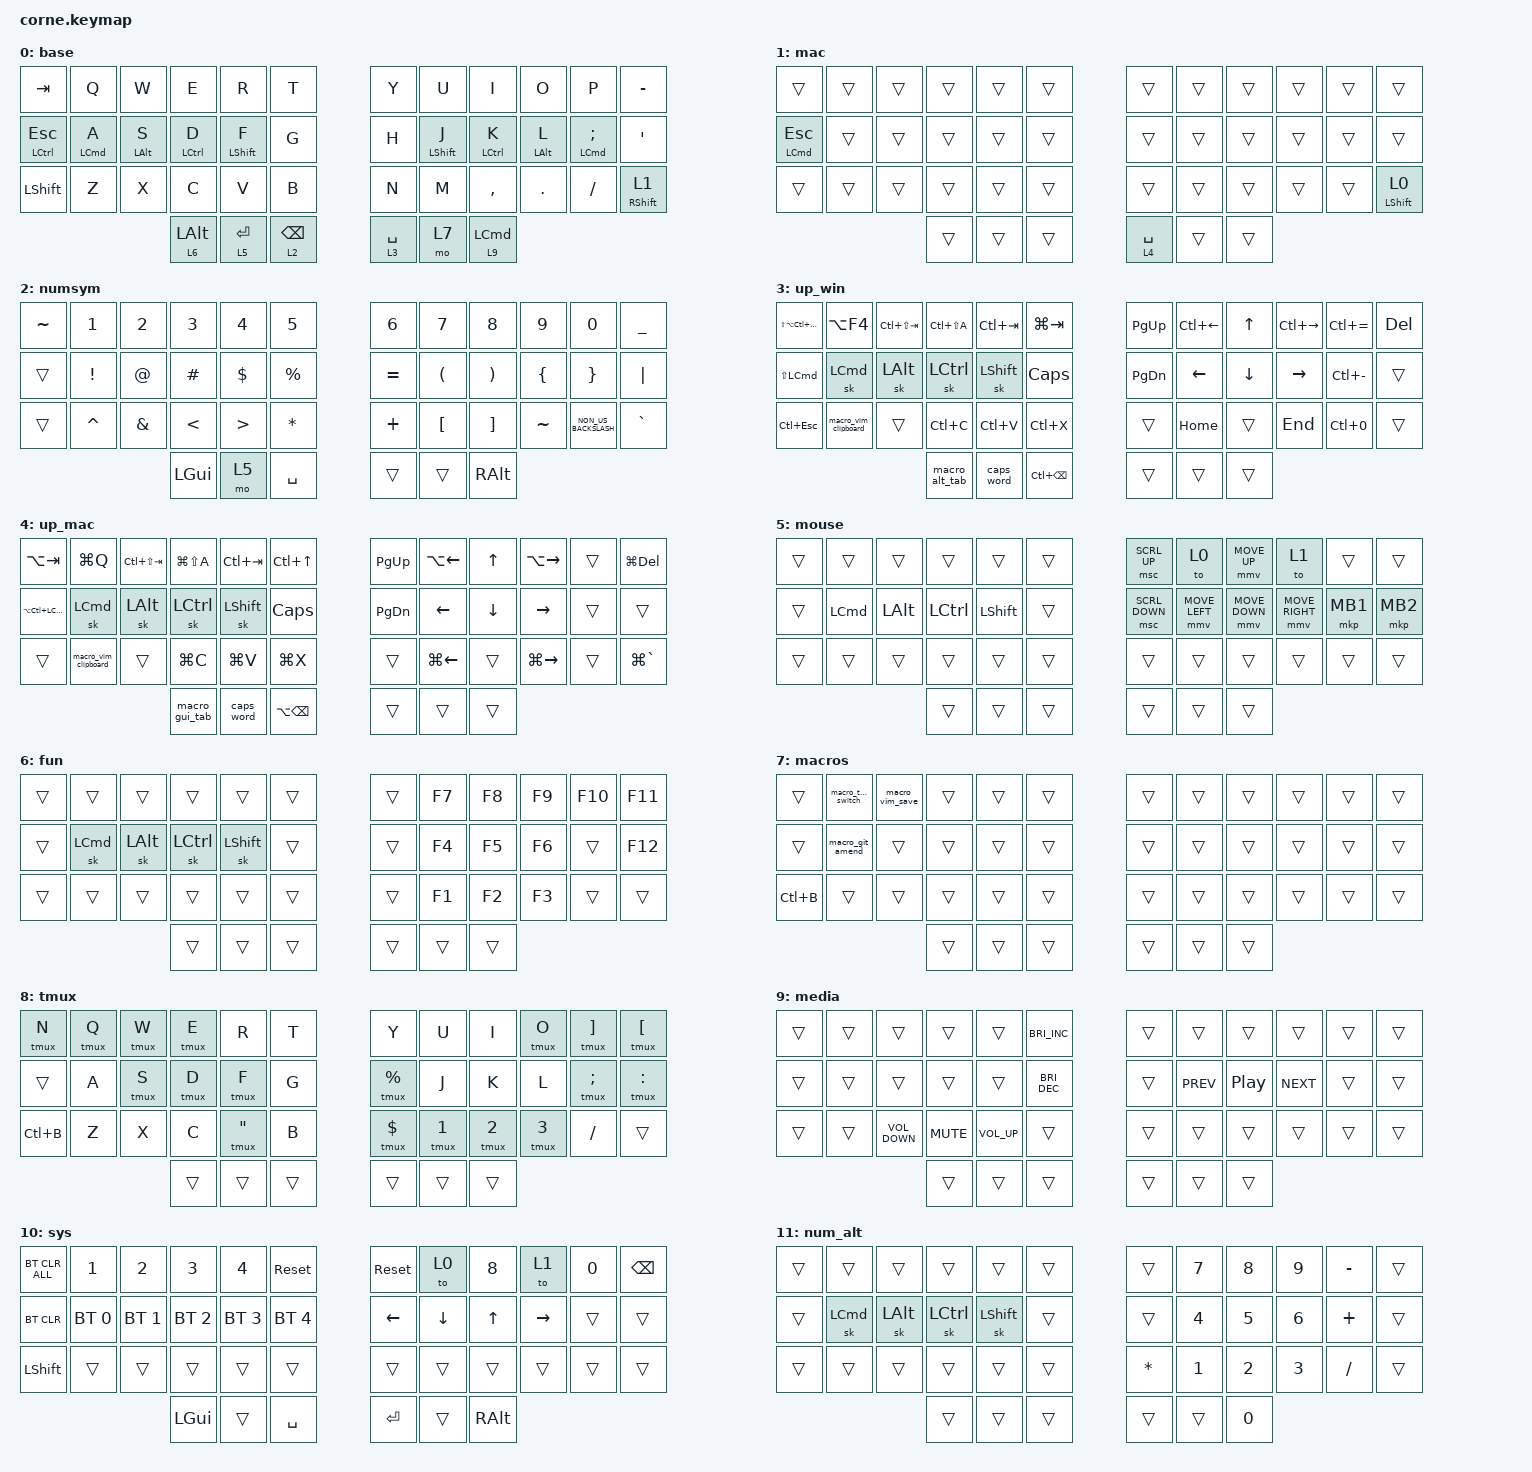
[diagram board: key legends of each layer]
/*
 * Copyright (c) 2020 The ZMK Contributors
 *
 * SPDX-License-Identifier: MIT
 */

#define ZMK_POINTING_DEFAULT_MOVE_VAL 3000  // default: 600
#define ZMK_POINTING_DEFAULT_SCRL_VAL 20    // default: 10

#include <behaviors.dtsi>
#include <dt-bindings/zmk/bt.h>
#include <dt-bindings/zmk/keys.h>
#include <dt-bindings/zmk/pointing.h>

&mmv {
    acceleration-exponent = <1>;
    time-to-max-speed-ms = <800>;
};

&sk { quick-release; };

/ {
    behaviors {
        hml: homewrow_mods_left {
            compatible = "zmk,behavior-hold-tap";
            label = "HOMEROW_MODS_LEFT_HAND";
            bindings = <&kp>, <&kp>;

            #binding-cells = <2>;
            tapping-term-ms = <200>;
            hold-trigger-key-positions = <6 18 30 39 40 41 31 19 7 8 20 32 33 21 9 10 22 34 35 23 11>;
            hold-trigger-on-release;
            flavor = "balanced";
            require-prior-idle-ms = <115>;
            quick-tap-ms = <175>;
        };

        hmr: homewrow_mods_right {
            compatible = "zmk,behavior-hold-tap";
            label = "HOMEROW_MODS_RIGHT_HAND";
            bindings = <&kp>, <&kp>;

            #binding-cells = <2>;
            tapping-term-ms = <200>;
            hold-trigger-key-positions = <0 1 2 3 4 5 12 13 14 15 16 17 24 25 26 27 28 29 36 37 38>;
            hold-trigger-on-release;
            flavor = "balanced";
            require-prior-idle-ms = <115>;
            quick-tap-ms = <175>;
        };

        layer_mt: layer_mt {
            compatible = "zmk,behavior-hold-tap";
            label = "LAYER_MT";
            bindings = <&kp>, <&to>;

            #binding-cells = <2>;
            tapping-term-ms = <200>;
        };

        lt_prefer_tap: lt_prefer_tap {
            compatible = "zmk,behavior-hold-tap";
            label = "LT_PREFER_TAP";
            bindings = <&mo>, <&kp>;

            #binding-cells = <2>;
            tapping-term-ms = <200>;
            flavor = "tap-preferred";
            require-prior-idle-ms = <75>;
        };

        lt_prefer_hold: lt_prefer_hold {
            compatible = "zmk,behavior-hold-tap";
            label = "LT_PREFER_HOLD";
            bindings = <&mo>, <&kp>;

            #binding-cells = <2>;
            tapping-term-ms = <150>;
            hold-while-undecided;
        };

        mt_prefer_tap: mt_prefer_tap {
            compatible = "zmk,behavior-hold-tap";
            label = "MT_PREFER_TAP";
            bindings = <&kp>, <&kp>;

            #binding-cells = <2>;
            tapping-term-ms = <200>;
            flavor = "tap-preferred";
            require-prior-idle-ms = <75>;
        };
    };

    combos {
        compatible = "zmk,combos";

        combo_vim_save {
            bindings = <&macro_vim_save>;
            key-positions = <1 2>;
            layers = <0 1>;
        };

        combo_vim_quit {
            bindings = <&macro_vim_quit>;
            key-positions = <0 1>;
            layers = <0 1>;
        };

        combo_rshift {
            bindings = <&sk RSHIFT>;
            key-positions = <18 19>;
            require-prior-idle-ms = <125>;
            layers = <0 1>;
        };

        combo_lshift {
            bindings = <&sk LEFT_SHIFT>;
            key-positions = <16 17>;
            require-prior-idle-ms = <125>;
            layers = <0 1>;
        };

        combo_cap_words {
            bindings = <&caps_word>;
            key-positions = <25 26>;
            layers = <0 1>;
        };
    };

    macros {
        macro_git_amend: git_amend {
            compatible = "zmk,behavior-macro";
            #binding-cells = <0>;
            bindings = <&none &kp G &kp I &kp T &kp SPACE &kp C &kp O &kp M &kp M &kp I &kp T &kp SPACE &kp MINUS &kp MINUS &kp A &kp M &kp E &kp N &kp D &kp SPACE &kp MINUS &kp MINUS &kp N &kp O &kp MINUS &kp E &kp D &kp I &kp T>;
            label = "GIT_AMEND";
            tap-ms = <5>;
            wait-ms = <5>;
        };

        macro_vim_save: macro_vim_save {
            compatible = "zmk,behavior-macro";
            #binding-cells = <0>;
            bindings = <&none &kp COLON &kp W &kp RET>;
            label = "MACRO_VIM_SAVE";
            wait-ms = <10>;
            tap-ms = <10>;
        };

        macro_vim_quit: macro_vim_quit {
            compatible = "zmk,behavior-macro";
            #binding-cells = <0>;
            bindings = <&none &kp COLON &kp Q &kp RET>;
            label = "MACRO_VIM_QUIT";
            wait-ms = <10>;
            tap-ms = <10>;
        };

        macro_tmux_switch: macro_tmux_switch {
            compatible = "zmk,behavior-macro";
            #binding-cells = <0>;
            bindings = <&none &kp LC(B) &kp Q>;
            label = "MACRO_TMUX_SWITCH";
        };

        macro_alt_tab: macro_alt_tab {
            compatible = "zmk,behavior-macro";
            #binding-cells = <0>;
            bindings =
                <&none>,
                <&macro_press>,
                <&kp LEFT_ALT &kp TAB>,
                <&macro_release>,
                <&kp TAB>,
                <&macro_pause_for_release>,
                <&macro_release>,
                <&kp LEFT_ALT>;

            label = "MACRO_ALT_TAB";
        };

        tmux: tmux {
            compatible = "zmk,behavior-macro-one-param";
            #binding-cells = <1>;
            bindings = <&none &kp LC(B) &macro_param_1to1 &kp MACRO_PLACEHOLDER>;
            label = "TMUX";
        };

        macro_vim_clipboard: macro_vim_register {
            compatible = "zmk,behavior-macro";
            #binding-cells = <0>;
            bindings = <&none &kp DOUBLE_QUOTES &kp PLUS>;
            label = "MACRO_VIM_REGISTER";
        };

        macro_gui_tab: macro_gui_tab {
            compatible = "zmk,behavior-macro";
            #binding-cells = <0>;
            bindings =
                <&none>,
                <&macro_press>,
                <&kp LCMD &kp TAB>,
                <&macro_release>,
                <&kp TAB>,
                <&macro_pause_for_release>,
                <&macro_release>,
                <&kp LCMD>;

            label = "MACRO_GUI_TAB";
        };
    };

    keymap {
        compatible = "zmk,keymap";

        base {
            // -----------------------------------------------------------------------------------------
            // |  TAB |  Q  |  W  |  E  |  R  |  T  |   |  Y  |  U   |  I  |  O  |  P  | BKSP |
            // | CTRL |  A  |  S  |  D  |  F  |  G  |   |  H  |  J   |  K  |  L  |  ;  |  '   |
            // | SHFT |  Z  |  X  |  C  |  V  |  B  |   |  N  |  M   |  ,  |  .  |  /  | ESC  |
            //                    | GUI | LWR | SPC |   | ENT | RSE  | ALT |

            bindings = <
&kp TAB                      &kp Q        &kp W            &kp E           &kp R              &kp T                          &kp Y                   &kp U          &kp I         &kp O            &kp P           &kp MINUS
&mt_prefer_tap LCTRL ESCAPE  &hml LCMD A  &hml LEFT_ALT S  &hml LCTRL D    &hml LEFT_SHIFT F  &kp G                          &kp H                   &hmr LSHIFT J  &hmr LCTRL K  &hmr LEFT_ALT L  &hmr LCMD SEMI  &kp SQT
&kp LSHFT                    &kp Z        &kp X            &kp C           &kp V              &kp B                          &kp N                   &kp M          &kp COMMA     &kp DOT          &kp FSLH        &layer_mt RIGHT_SHIFT 1
                                                           &lt 6 LEFT_ALT  &lt 5 ENTER        &lt_prefer_hold 2 BACKSPACE    &lt_prefer_tap 3 SPACE  &mo 7          &lt 9 LCMD
            >;
        };

        mac {
            bindings = <
&trans                      &trans  &trans  &trans  &trans  &trans    &trans                  &trans  &trans  &trans  &trans  &trans
&mt_prefer_tap LCMD ESCAPE  &trans  &trans  &trans  &trans  &trans    &trans                  &trans  &trans  &trans  &trans  &trans
&trans                      &trans  &trans  &trans  &trans  &trans    &trans                  &trans  &trans  &trans  &trans  &layer_mt LEFT_SHIFT 0
                                            &trans  &trans  &trans    &lt_prefer_tap 4 SPACE  &trans  &trans
            >;
        };

        numsym {
            // -----------------------------------------------------------------------------------------
            // |  TAB |  !  |  @  |  #  |  $  |  %  |   |  ^  |  &  |  *  |  (  |  )  | BKSP |
            // | CTRL |     |     |     |     |     |   |  -  |  =  |  [  |  ]  |  \  |  `   |
            // | SHFT |     |     |     |     |     |   |  _  |  +  |  {  |  }  | "|" |  ~   |
            //                    | GUI |     | SPC |   | ENT |     | ALT |

            bindings = <
&kp TILDE  &kp N1           &kp N2         &kp N3         &kp N4            &kp N5          &kp N6     &kp N7                &kp N8                 &kp N9          &kp N0                &kp UNDERSCORE
&trans     &kp EXCLAMATION  &kp AT_SIGN    &kp HASH       &kp DOLLAR        &kp PERCENT     &kp EQUAL  &kp LEFT_PARENTHESIS  &kp RIGHT_PARENTHESIS  &kp LEFT_BRACE  &kp RIGHT_BRACE       &kp PIPE
&trans     &kp CARET        &kp AMPERSAND  &kp LESS_THAN  &kp GREATER_THAN  &kp ASTERISK    &kp PLUS   &kp LEFT_BRACKET      &kp RIGHT_BRACKET      &kp TILDE       &kp NON_US_BACKSLASH  &kp GRAVE
                                           &kp LGUI       &mo 5             &kp SPACE       &trans     &trans                &kp RALT
            >;
        };

        up_win {
            bindings = <
&kp LS(LA(LC(LG(TAB))))  &kp LA(F4)            &kp LC(LS(TAB))  &kp LC(LS(A))   &kp LC(TAB)  &kp LG(TAB)          &kp PG_UP      &kp LC(LEFT_ARROW)  &kp UP_ARROW  &kp LC(RIGHT)  &kp LC(EQUAL)  &kp DELETE
&kp LS(LCMD)             &sk LCMD              &sk LEFT_ALT     &sk LCTRL       &sk LSHIFT   &kp CLCK             &kp PAGE_DOWN  &kp LEFT_ARROW      &kp DOWN      &kp RIGHT      &kp LC(MINUS)  &trans
&kp LC(ESCAPE)           &macro_vim_clipboard  &trans           &kp LC(C)       &kp LC(V)    &kp LC(X)            &trans         &kp HOME            &trans        &kp END        &kp LC(N0)     &trans
                                                                &macro_alt_tab  &caps_word   &kp LC(BACKSPACE)    &trans         &trans              &trans
            >;
        };

        up_mac {
            bindings = <
&kp LA(TAB)       &kp LG(Q)             &kp LC(LS(TAB))  &kp LG(LS(A))   &kp LC(TAB)  &kp LC(UP_ARROW)     &kp PG_UP      &kp LA(LEFT_ARROW)  &kp UP_ARROW  &kp LA(RIGHT)  &trans  &kp LG(DELETE)
&kp LA(LC(LCMD))  &sk LCMD              &sk LEFT_ALT     &sk LCTRL       &sk LSHIFT   &kp CAPS             &kp PAGE_DOWN  &kp LEFT_ARROW      &kp DOWN      &kp RIGHT      &trans  &trans
&trans            &macro_vim_clipboard  &trans           &kp LG(C)       &kp LG(V)    &kp LG(X)            &trans         &kp LG(LEFT_ARROW)  &trans        &kp LG(RIGHT)  &trans  &kp LG(GRAVE)
                                                         &macro_gui_tab  &caps_word   &kp LA(BACKSPACE)    &trans         &trans              &trans
            >;
        };

        mouse {
            bindings = <
&trans  &trans    &trans        &trans            &trans          &trans    &msc SCRL_UP    &to 0           &mmv MOVE_UP    &to 1            &trans    &trans
&trans  &kp LCMD  &kp LEFT_ALT  &kp LEFT_CONTROL  &kp LEFT_SHIFT  &trans    &msc SCRL_DOWN  &mmv MOVE_LEFT  &mmv MOVE_DOWN  &mmv MOVE_RIGHT  &mkp MB1  &mkp MB2
&trans  &trans    &trans        &trans            &trans          &trans    &trans          &trans          &trans          &trans           &trans    &trans
                                &trans            &trans          &trans    &trans          &trans          &trans
            >;
        };

        fun {
            bindings = <
&trans  &trans    &trans        &trans     &trans      &trans    &trans  &kp F7  &kp F8  &kp F9  &kp F10  &kp F11
&trans  &sk LCMD  &sk LEFT_ALT  &sk LCTRL  &sk LSHIFT  &trans    &trans  &kp F4  &kp F5  &kp F6  &trans   &kp F12
&trans  &trans    &trans        &trans     &trans      &trans    &trans  &kp F1  &kp F2  &kp F3  &trans   &trans
                                &trans     &trans      &trans    &trans  &trans  &trans
            >;
        };

        macros {
            bindings = <
&trans     &macro_tmux_switch  &macro_vim_save  &trans  &trans  &trans    &trans  &trans  &trans  &trans  &trans  &trans
&trans     &macro_git_amend    &trans           &trans  &trans  &trans    &trans  &trans  &trans  &trans  &trans  &trans
&kp LC(B)  &trans              &trans           &trans  &trans  &trans    &trans  &trans  &trans  &trans  &trans  &trans
                                                &trans  &trans  &trans    &trans  &trans  &trans
            >;
        };

        tmux {
            bindings = <
&tmux N    &tmux Q  &tmux W  &tmux E  &kp R                &kp T     &kp Y          &kp U           &kp I           &tmux O         &tmux RIGHT_BRACKET  &tmux LEFT_BRACKET
&trans     &kp A    &tmux S  &tmux D  &tmux F              &kp G     &tmux PERCENT  &kp J           &kp K           &kp L           &tmux SEMICOLON      &tmux COLON
&kp LC(B)  &kp Z    &kp X    &kp C    &tmux DOUBLE_QUOTES  &kp B     &tmux DOLLAR   &tmux NUMBER_1  &tmux NUMBER_2  &tmux NUMBER_3  &kp FSLH             &trans
                             &trans   &trans               &trans    &trans         &trans          &trans
            >;
        };

        media {
            bindings = <
&trans  &trans  &trans             &trans      &trans           &kp C_BRIGHTNESS_INC    &trans  &trans      &trans            &trans      &trans  &trans
&trans  &trans  &trans             &trans      &trans           &kp C_BRIGHTNESS_DEC    &trans  &kp C_PREV  &kp C_PLAY_PAUSE  &kp C_NEXT  &trans  &trans
&trans  &trans  &kp C_VOLUME_DOWN  &kp C_MUTE  &kp C_VOLUME_UP  &trans                  &trans  &trans      &trans            &trans      &trans  &trans
                                   &trans      &trans           &trans                  &trans  &trans      &trans
            >;
        };

        sys {
            bindings = <
&bt BT_CLR_ALL  &kp N1        &kp N2        &kp N3        &kp N4        &sys_reset      &sys_reset  &to 0     &kp N8    &to 1      &kp N0  &kp BSPC
&bt BT_CLR      &bt BT_SEL 0  &bt BT_SEL 1  &bt BT_SEL 2  &bt BT_SEL 3  &bt BT_SEL 4    &kp LEFT    &kp DOWN  &kp UP    &kp RIGHT  &trans  &trans
&kp LSHFT       &trans        &trans        &trans        &trans        &trans          &trans      &trans    &trans    &trans     &trans  &trans
                                            &kp LGUI      &trans        &kp SPACE       &kp RET     &trans    &kp RALT
            >;
        };

        num_alt {
            bindings = <
&trans  &trans    &trans        &trans     &trans      &trans    &trans        &kp N7  &kp N8  &kp N9  &kp MINUS  &trans
&trans  &sk LCMD  &sk LEFT_ALT  &sk LCTRL  &sk LSHIFT  &trans    &trans        &kp N4  &kp N5  &kp N6  &kp PLUS   &trans
&trans  &trans    &trans        &trans     &trans      &trans    &kp ASTERISK  &kp N1  &kp N2  &kp N3  &kp FSLH   &trans
                                &trans     &trans      &trans    &trans        &trans  &kp N0
            >;
        };
    };

    conditional_layers {
        compatible = "zmk,conditional-layers";

        to_sys {
            if-layers = <6 9>;
            then-layer = <10>;
        };

        tmux {
            if-layers = <5 7>;
            then-layer = <8>;
        };

        num_alt {
            if-layers = <6 7>;
            then-layer = <11>;
        };
    };
};
